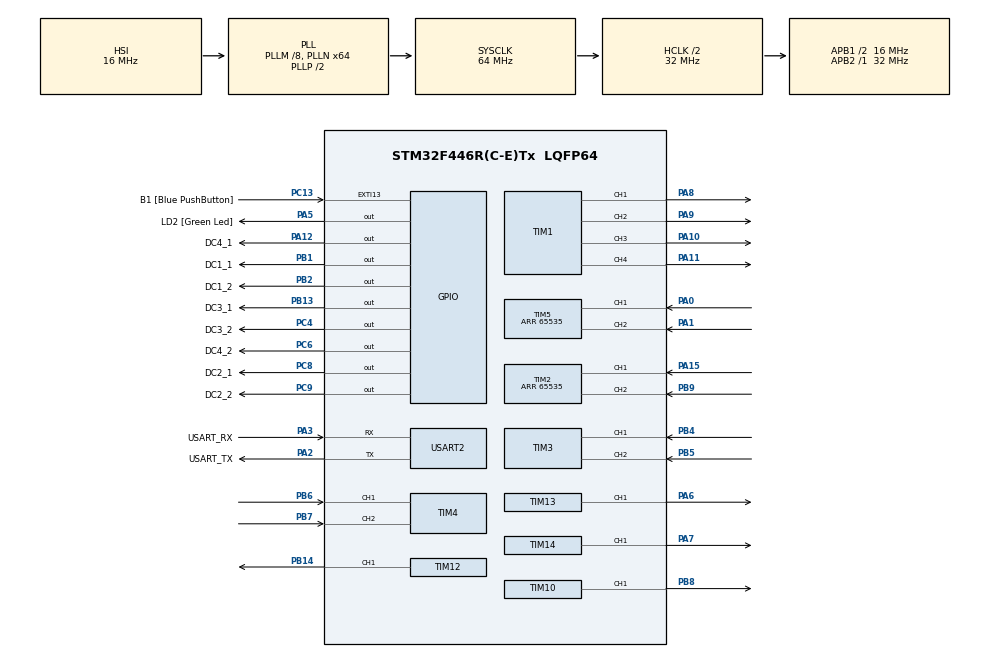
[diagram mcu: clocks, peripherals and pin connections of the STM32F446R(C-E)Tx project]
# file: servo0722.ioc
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Mcu.Family=STM32F4
Mcu.Name=STM32F446R(C-E)Tx
Mcu.Package=LQFP64
NVIC.PriorityGroup=NVIC_PRIORITYGROUP_0
NVIC.TIM2_IRQn=true\:0\:0\:false\:false\:true\:true\:true\:true
NVIC.TIM3_IRQn=true\:0\:0\:false\:false\:true\:true\:true\:true
NVIC.TIM4_IRQn=true\:0\:0\:false\:false\:true\:true\:true\:true
NVIC.TIM5_IRQn=true\:0\:0\:false\:false\:true\:true\:true\:true
PA0-WKUP.Signal=S_TIM5_CH1
PA1.Signal=S_TIM5_CH2
PA10.Signal=S_TIM1_CH3
PA11.Signal=S_TIM1_CH4
PA12.GPIO_Label=DC4_1
PA12.Signal=GPIO_Output
PA13.GPIO_Label=TMS
PA13.Mode=Serial_Wire
PA13.Signal=SYS_JTMS-SWDIO
PA14.GPIO_Label=TCK
PA14.Mode=Serial_Wire
PA14.Signal=SYS_JTCK-SWCLK
PA15.Signal=S_TIM2_CH1_ETR
PA2.GPIO_Label=USART_TX
PA2.Mode=Asynchronous
PA2.Signal=USART2_TX
PA3.GPIO_Label=USART_RX
PA3.Mode=Asynchronous
PA3.Signal=USART2_RX
PA5.GPIO_Label=LD2 [Green Led]
PA5.Signal=GPIO_Output
PA6.Signal=S_TIM13_CH1
PA7.Signal=S_TIM14_CH1
PA8.Signal=S_TIM1_CH1
PA9.Signal=S_TIM1_CH2
PB1.GPIO_Label=DC1_1
PB1.Signal=GPIO_Output
PB13.GPIO_Label=DC3_1
PB13.Signal=GPIO_Output
PB14.Signal=S_TIM12_CH1
PB2.GPIO_Label=DC1_2
PB2.Signal=GPIO_Output
PB3.GPIO_Label=SWO
PB3.Signal=SYS_JTDO-SWO
PB4.Signal=S_TIM3_CH1
PB5.Signal=S_TIM3_CH2
PB6.Signal=S_TIM4_CH1
PB7.Signal=S_TIM4_CH2
PB8.Signal=S_TIM10_CH1
PB9.Signal=S_TIM2_CH2
PC13.GPIO_Label=B1 [Blue PushButton]
PC13.GPIO_ModeDefaultEXTI=GPIO_MODE_IT_FALLING
PC13.Signal=GPXTI13
PC14-OSC32_IN.Mode=LSE-External-Oscillator
PC14-OSC32_IN.Signal=RCC_OSC32_IN
PC15-OSC32_OUT.Mode=LSE-External-Oscillator
PC15-OSC32_OUT.Signal=RCC_OSC32_OUT
PC4.GPIO_Label=DC3_2
PC4.Signal=GPIO_Output
PC6.GPIO_Label=DC4_2
PC6.Signal=GPIO_Output
PC8.GPIO_Label=DC2_1
PC8.Signal=GPIO_Output
PC9.GPIO_Label=DC2_2
PC9.Signal=GPIO_Output
PH0-OSC_IN.Mode=HSE-External-Oscillator
PH0-OSC_IN.Signal=RCC_OSC_IN
PH1-OSC_OUT.Mode=HSE-External-Oscillator
PH1-OSC_OUT.Signal=RCC_OSC_OUT
ProjectManager.HeapSize=0x200
ProjectManager.StackSize=0x400
ProjectManager.TargetToolchain=STM32CubeIDE
RCC.48MHZClocksFreq_Value=84000000
RCC.AHBCLKDivider=RCC_SYSCLK_DIV2
RCC.AHBFreq_Value=32000000
RCC.APB1CLKDivider=RCC_HCLK_DIV2
RCC.APB1Freq_Value=16000000
RCC.APB1TimFreq_Value=32000000
RCC.APB2Freq_Value=32000000
RCC.APB2TimFreq_Value=32000000
RCC.CortexFreq_Value=32000000
RCC.FLatency-AdvancedSettings=FLASH_LATENCY_1
RCC.HCLKFreq_Value=32000000
RCC.HSE_VALUE=8000000
RCC.HSI_VALUE=16000000
RCC.PLLM=8
RCC.PLLN=64
RCC.SYSCLKFreq_VALUE=64000000
RCC.SYSCLKSource=RCC_SYSCLKSOURCE_PLLCLK
RCC.USBFreq_Value=64000000
RCC.VCOOutputFreq_Value=128000000
SH.S_TIM10_CH1.0=TIM10_CH1,PWM Generation1 CH1
SH.S_TIM12_CH1.0=TIM12_CH1,PWM Generation1 CH1
SH.S_TIM13_CH1.0=TIM13_CH1,PWM Generation1 CH1
SH.S_TIM14_CH1.0=TIM14_CH1,PWM Generation1 CH1
SH.S_TIM1_CH1.0=TIM1_CH1,PWM Generation1 CH1
SH.S_TIM1_CH2.0=TIM1_CH2,PWM Generation2 CH2
SH.S_TIM1_CH3.0=TIM1_CH3,PWM Generation3 CH3
SH.S_TIM1_CH4.0=TIM1_CH4,PWM Generation4 CH4
SH.S_TIM2_CH1_ETR.0=TIM2_CH1,Encoder_Interface
SH.S_TIM2_CH2.0=TIM2_CH2,Encoder_Interface
SH.S_TIM3_CH1.0=TIM3_CH1,Encoder_Interface
SH.S_TIM3_CH2.0=TIM3_CH2,Encoder_Interface
SH.S_TIM4_CH1.0=TIM4_CH1,Encoder_Interface
SH.S_TIM4_CH2.0=TIM4_CH2,Encoder_Interface
SH.S_TIM5_CH1.0=TIM5_CH1,Encoder_Interface
SH.S_TIM5_CH2.0=TIM5_CH2,Encoder_Interface
TIM1.Channel-PWM\ Generation1\ CH1=TIM_CHANNEL_1
TIM1.Channel-PWM\ Generation2\ CH2=TIM_CHANNEL_2
TIM1.Channel-PWM\ Generation3\ CH3=TIM_CHANNEL_3
TIM1.Channel-PWM\ Generation4\ CH4=TIM_CHANNEL_4
TIM10.Channel=TIM_CHANNEL_1
TIM10.Period=1000
TIM10.Prescaler=640
TIM12.Channel-PWM\ Generation1\ CH1=TIM_CHANNEL_1
TIM12.Period=1000
TIM12.Prescaler=640
TIM13.Channel=TIM_CHANNEL_1
TIM13.Period=1000
TIM13.Prescaler=640
TIM14.Channel=TIM_CHANNEL_1
TIM14.Period=1000
TIM14.Prescaler=640
TIM2.EncoderMode=TIM_ENCODERMODE_TI12
TIM2.Period=65535
TIM3.EncoderMode=TIM_ENCODERMODE_TI12
TIM4.EncoderMode=TIM_ENCODERMODE_TI12
TIM5.EncoderMode=TIM_ENCODERMODE_TI12
TIM5.Period=65535
USART2.VirtualMode=VM_ASYNC
VP_TIM10_VS_ClockSourceINT.Mode=Enable_Timer
VP_TIM11_VS_ClockSourceINT.Mode=Enable_Timer
VP_TIM12_VS_ClockSourceINT.Mode=Internal
VP_TIM13_VS_ClockSourceINT.Mode=Enable_Timer
VP_TIM14_VS_ClockSourceINT.Mode=Enable_Timer
VP_TIM1_VS_ClockSourceINT.Mode=Internal
VP_TIM1_VS_OPM.Mode=OPM_bit
board=NUCLEO-F446RE

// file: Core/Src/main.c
/* USER CODE BEGIN Header */
/**
  ******************************************************************************
  * @file           : main.c
  * @brief          : Main program body
  ******************************************************************************
  * @attention
  *
  * Copyright (c) 2022 STMicroelectronics.
  * All rights reserved.
  *
  * This software is licensed under terms that can be found in the LICENSE file
  * in the root directory of this software component.
  * If no LICENSE file comes with this software, it is provided AS-IS.
  *
  ******************************************************************************
  */
/* USER CODE END Header */
#include "main.h"

 TIM_HandleTypeDef htim1;
TIM_HandleTypeDef htim2;
TIM_HandleTypeDef htim3;
TIM_HandleTypeDef htim4;
TIM_HandleTypeDef htim5;
TIM_HandleTypeDef htim10;
TIM_HandleTypeDef htim11;
TIM_HandleTypeDef htim12;
TIM_HandleTypeDef htim13;
TIM_HandleTypeDef htim14;

UART_HandleTypeDef huart2;

void SystemClock_Config(void);
static void MX_GPIO_Init(void);
static void MX_USART2_UART_Init(void);
static void MX_TIM1_Init(void);
static void MX_TIM2_Init(void);
static void MX_TIM3_Init(void);
static void MX_TIM4_Init(void);
static void MX_TIM5_Init(void);
static void MX_TIM10_Init(void);
static void MX_TIM11_Init(void);
static void MX_TIM12_Init(void);
static void MX_TIM13_Init(void);
static void MX_TIM14_Init(void);

/* USER CODE BEGIN 0 */

uint32_t counter2 = 0;
uint32_t counter3 = 0;
uint32_t counter4 = 0;
uint32_t counter5 = 0;

int16_t count2 = 0;
int16_t count3 = 0;
int16_t count4 = 0;
int16_t count5 = 0;
int i=0;

void HAL_TIM_IC_CaptureCallback(TIM_HandleTypeDef *htim)
{
	if(htim == &htim2){
		counter2 = __HAL_TIM_GET_COUNTER(htim);
		count2 = (int16_t)counter2;
	}
	else if(htim == &htim3){
			counter3 = __HAL_TIM_GET_COUNTER(htim);
			count3 = (int16_t)counter3;
		}
	else if(htim == &htim4){
			counter4 = __HAL_TIM_GET_COUNTER(htim);
			count4 = (int16_t)counter4;
		}
	else if(htim == &htim5){
			counter5 = __HAL_TIM_GET_COUNTER(htim);
			count5 = (int16_t)counter5;
		}

}
/* USER CODE END 0 */

int main(void)
{

  /* MCU Configuration--------------------------------------------------------*/

  /* Reset of all peripherals, Initializes the Flash interface and the Systick. */
  HAL_Init();

  /* Configure the system clock */
  SystemClock_Config();

  /* Initialize all configured peripherals */
  MX_GPIO_Init();
  MX_USART2_UART_Init();
  MX_TIM1_Init();
  MX_TIM2_Init();
  MX_TIM3_Init();
  MX_TIM4_Init();
  MX_TIM5_Init();
  MX_TIM10_Init();
  MX_TIM11_Init();
  MX_TIM12_Init();
  MX_TIM13_Init();
  MX_TIM14_Init();
  /* USER CODE BEGIN 2 */
  HAL_TIM_Encoder_Start_IT(&htim2, TIM_CHANNEL_ALL);
  HAL_TIM_Encoder_Start_IT(&htim3, TIM_CHANNEL_ALL);
  HAL_TIM_Encoder_Start_IT(&htim4, TIM_CHANNEL_ALL);
  HAL_TIM_Encoder_Start_IT(&htim5, TIM_CHANNEL_ALL);

  // start DC motor PWM
  HAL_TIM_PWM_Start(&htim1, TIM_CHANNEL_1);
  HAL_TIM_PWM_Start(&htim1, TIM_CHANNEL_2);
  HAL_TIM_PWM_Start(&htim1, TIM_CHANNEL_3);
  HAL_TIM_PWM_Start(&htim1, TIM_CHANNEL_4);

  htim1.Instance-> CCR1 = 80;
  htim1.Instance-> CCR2 = 80;
  htim1.Instance-> CCR3 = 80;
  htim1.Instance-> CCR4 = 80;

  // Servo PWM
  HAL_TIM_PWM_Start(&htim10, TIM_CHANNEL_1);
  HAL_TIM_PWM_Start(&htim12, TIM_CHANNEL_1);
  HAL_TIM_PWM_Start(&htim13, TIM_CHANNEL_1);
  HAL_TIM_PWM_Start(&htim14, TIM_CHANNEL_1);

  htim10.Instance->CCR1 = 75;
  htim12.Instance->CCR1 = 80;
  htim13.Instance->CCR1 = 100;
  htim14.Instance->CCR1 = 120;
  HAL_Delay(1000);

  /*
   Encoder: TIM2~TIM5
   DC motor: TIM1
   Servo: TIM10, TIM12, TIM13, TIM14
   */

  /* USER CODE END 2 */

  /* Infinite loop */
  /* USER CODE BEGIN WHILE */
  while (1)
  {
	  // DC motor PWM
	  htim1.Instance-> CCR1 = 80;
	  htim1.Instance-> CCR2 = 80;
	  htim1.Instance-> CCR3 = 80;
	  htim1.Instance-> CCR4 = 80;

 	  /*i=0;
 	  while(i<10)
 	  {
 		  htim10.Instance->CCR1 = 75-i;
 		  htim12.Instance->CCR1 = 80+i;
 		  htim13.Instance->CCR1 = 100-i;
 		  htim14.Instance->CCR1 = 120+i;
 		  i++;
 		  HAL_Delay(1000);
 	  }*/

	  // four wheels go forward
	  for(int i=0;i<4;i++){
		  int a=0;
		  int b=0;
		  HAL_GPIO_WritePin(DC1_1_GPIO_Port, DC1_1_Pin, a);
		  HAL_GPIO_WritePin(DC1_2_GPIO_Port, DC1_2_Pin, b);
		  HAL_GPIO_WritePin(DC2_1_GPIO_Port, DC2_1_Pin, a);
		  HAL_GPIO_WritePin(DC2_2_GPIO_Port, DC2_2_Pin, b);
		  HAL_GPIO_WritePin(DC3_1_GPIO_Port, DC3_1_Pin, a);
		  HAL_GPIO_WritePin(DC3_2_GPIO_Port, DC3_2_Pin, b);
		  HAL_GPIO_WritePin(DC4_1_GPIO_Port, DC4_1_Pin, a);
		  HAL_GPIO_WritePin(DC4_2_GPIO_Port, DC4_2_Pin, b);
		  HAL_Delay(1000);
	  }
	  // four wheels go backward
	  for(int i=0;i<4;i++){
		  int a=0;
		  int b=0;
		  HAL_GPIO_WritePin(DC1_1_GPIO_Port, DC1_1_Pin, a);
		  HAL_GPIO_WritePin(DC1_2_GPIO_Port, DC1_2_Pin, b);
		  HAL_GPIO_WritePin(DC2_1_GPIO_Port, DC2_1_Pin, a);
		  HAL_GPIO_WritePin(DC2_2_GPIO_Port, DC2_2_Pin, b);
		  HAL_GPIO_WritePin(DC3_1_GPIO_Port, DC3_1_Pin, a);
		  HAL_GPIO_WritePin(DC3_2_GPIO_Port, DC3_2_Pin, b);
		  HAL_GPIO_WritePin(DC4_1_GPIO_Port, DC4_1_Pin, a);
		  HAL_GPIO_WritePin(DC4_2_GPIO_Port, DC4_2_Pin, b);
		  HAL_Delay(1000);
	  }
    /* USER CODE END WHILE */

  }
}

void SystemClock_Config(void)
{
  RCC_OscInitTypeDef RCC_OscInitStruct = {0};
  RCC_ClkInitTypeDef RCC_ClkInitStruct = {0};

  /** Configure the main internal regulator output voltage
  */
  __HAL_RCC_PWR_CLK_ENABLE();
  __HAL_PWR_VOLTAGESCALING_CONFIG(PWR_REGULATOR_VOLTAGE_SCALE3);

  /** Initializes the RCC Oscillators according to the specified parameters
  * in the RCC_OscInitTypeDef structure.
  */
  RCC_OscInitStruct.OscillatorType = RCC_OSCILLATORTYPE_HSI;
  RCC_OscInitStruct.HSIState = RCC_HSI_ON;
  RCC_OscInitStruct.HSICalibrationValue = RCC_HSICALIBRATION_DEFAULT;
  RCC_OscInitStruct.PLL.PLLState = RCC_PLL_ON;
  RCC_OscInitStruct.PLL.PLLSource = RCC_PLLSOURCE_HSI;
  RCC_OscInitStruct.PLL.PLLM = 8;
  RCC_OscInitStruct.PLL.PLLN = 64;
  RCC_OscInitStruct.PLL.PLLP = RCC_PLLP_DIV2;
  RCC_OscInitStruct.PLL.PLLQ = 2;
  RCC_OscInitStruct.PLL.PLLR = 2;
  if (HAL_RCC_OscConfig(&RCC_OscInitStruct) != HAL_OK)
  {
    Error_Handler();
  }

  /** Initializes the CPU, AHB and APB buses clocks
  */
  RCC_ClkInitStruct.ClockType = RCC_CLOCKTYPE_HCLK|RCC_CLOCKTYPE_SYSCLK
                              |RCC_CLOCKTYPE_PCLK1|RCC_CLOCKTYPE_PCLK2;
  RCC_ClkInitStruct.SYSCLKSource = RCC_SYSCLKSOURCE_PLLCLK;
  RCC_ClkInitStruct.AHBCLKDivider = RCC_SYSCLK_DIV2;
  RCC_ClkInitStruct.APB1CLKDivider = RCC_HCLK_DIV2;
  RCC_ClkInitStruct.APB2CLKDivider = RCC_HCLK_DIV1;

  if (HAL_RCC_ClockConfig(&RCC_ClkInitStruct, FLASH_LATENCY_1) != HAL_OK)
  {
    Error_Handler();
  }
}

static void MX_TIM1_Init(void)
{

  TIM_ClockConfigTypeDef sClockSourceConfig = {0};
  TIM_MasterConfigTypeDef sMasterConfig = {0};
  TIM_OC_InitTypeDef sConfigOC = {0};
  TIM_BreakDeadTimeConfigTypeDef sBreakDeadTimeConfig = {0};

  htim1.Instance = TIM1;
  htim1.Init.Prescaler = 0;
  htim1.Init.CounterMode = TIM_COUNTERMODE_UP;
  htim1.Init.Period = 65535;
  htim1.Init.ClockDivision = TIM_CLOCKDIVISION_DIV1;
  htim1.Init.RepetitionCounter = 0;
  htim1.Init.AutoReloadPreload = TIM_AUTORELOAD_PRELOAD_DISABLE;
  if (HAL_TIM_Base_Init(&htim1) != HAL_OK)
  {
    Error_Handler();
  }
  sClockSourceConfig.ClockSource = TIM_CLOCKSOURCE_INTERNAL;
  if (HAL_TIM_ConfigClockSource(&htim1, &sClockSourceConfig) != HAL_OK)
  {
    Error_Handler();
  }
  if (HAL_TIM_PWM_Init(&htim1) != HAL_OK)
  {
    Error_Handler();
  }
  if (HAL_TIM_OnePulse_Init(&htim1, TIM_OPMODE_SINGLE) != HAL_OK)
  {
    Error_Handler();
  }
  sMasterConfig.MasterOutputTrigger = TIM_TRGO_RESET;
  sMasterConfig.MasterSlaveMode = TIM_MASTERSLAVEMODE_DISABLE;
  if (HAL_TIMEx_MasterConfigSynchronization(&htim1, &sMasterConfig) != HAL_OK)
  {
    Error_Handler();
  }
  sConfigOC.OCMode = TIM_OCMODE_PWM1;
  sConfigOC.Pulse = 0;
  sConfigOC.OCPolarity = TIM_OCPOLARITY_HIGH;
  sConfigOC.OCNPolarity = TIM_OCNPOLARITY_HIGH;
  sConfigOC.OCFastMode = TIM_OCFAST_DISABLE;
  sConfigOC.OCIdleState = TIM_OCIDLESTATE_RESET;
  sConfigOC.OCNIdleState = TIM_OCNIDLESTATE_RESET;
  if (HAL_TIM_PWM_ConfigChannel(&htim1, &sConfigOC, TIM_CHANNEL_1) != HAL_OK)
  {
    Error_Handler();
  }
  if (HAL_TIM_PWM_ConfigChannel(&htim1, &sConfigOC, TIM_CHANNEL_2) != HAL_OK)
  {
    Error_Handler();
  }
  if (HAL_TIM_PWM_ConfigChannel(&htim1, &sConfigOC, TIM_CHANNEL_3) != HAL_OK)
  {
    Error_Handler();
  }
  if (HAL_TIM_PWM_ConfigChannel(&htim1, &sConfigOC, TIM_CHANNEL_4) != HAL_OK)
  {
    Error_Handler();
  }
  sBreakDeadTimeConfig.OffStateRunMode = TIM_OSSR_DISABLE;
  sBreakDeadTimeConfig.OffStateIDLEMode = TIM_OSSI_DISABLE;
  sBreakDeadTimeConfig.LockLevel = TIM_LOCKLEVEL_OFF;
  sBreakDeadTimeConfig.DeadTime = 0;
  sBreakDeadTimeConfig.BreakState = TIM_BREAK_DISABLE;
  sBreakDeadTimeConfig.BreakPolarity = TIM_BREAKPOLARITY_HIGH;
  sBreakDeadTimeConfig.AutomaticOutput = TIM_AUTOMATICOUTPUT_DISABLE;
  if (HAL_TIMEx_ConfigBreakDeadTime(&htim1, &sBreakDeadTimeConfig) != HAL_OK)
  {
    Error_Handler();
  }
  HAL_TIM_MspPostInit(&htim1);

}

static void MX_TIM2_Init(void)
{

  TIM_Encoder_InitTypeDef sConfig = {0};
  TIM_MasterConfigTypeDef sMasterConfig = {0};

  htim2.Instance = TIM2;
  htim2.Init.Prescaler = 0;
  htim2.Init.CounterMode = TIM_COUNTERMODE_UP;
  htim2.Init.Period = 65535;
  htim2.Init.ClockDivision = TIM_CLOCKDIVISION_DIV1;
  htim2.Init.AutoReloadPreload = TIM_AUTORELOAD_PRELOAD_DISABLE;
  sConfig.EncoderMode = TIM_ENCODERMODE_TI12;
  sConfig.IC1Polarity = TIM_ICPOLARITY_RISING;
  sConfig.IC1Selection = TIM_ICSELECTION_DIRECTTI;
  sConfig.IC1Prescaler = TIM_ICPSC_DIV1;
  sConfig.IC1Filter = 0;
  sConfig.IC2Polarity = TIM_ICPOLARITY_RISING;
  sConfig.IC2Selection = TIM_ICSELECTION_DIRECTTI;
  sConfig.IC2Prescaler = TIM_ICPSC_DIV1;
  sConfig.IC2Filter = 0;
  if (HAL_TIM_Encoder_Init(&htim2, &sConfig) != HAL_OK)
  {
    Error_Handler();
  }
  sMasterConfig.MasterOutputTrigger = TIM_TRGO_RESET;
  sMasterConfig.MasterSlaveMode = TIM_MASTERSLAVEMODE_DISABLE;
  if (HAL_TIMEx_MasterConfigSynchronization(&htim2, &sMasterConfig) != HAL_OK)
  {
    Error_Handler();
  }

}

static void MX_TIM3_Init(void)
{

  TIM_Encoder_InitTypeDef sConfig = {0};
  TIM_MasterConfigTypeDef sMasterConfig = {0};

  htim3.Instance = TIM3;
  htim3.Init.Prescaler = 0;
  htim3.Init.CounterMode = TIM_COUNTERMODE_UP;
  htim3.Init.Period = 65535;
  htim3.Init.ClockDivision = TIM_CLOCKDIVISION_DIV1;
  htim3.Init.AutoReloadPreload = TIM_AUTORELOAD_PRELOAD_DISABLE;
  sConfig.EncoderMode = TIM_ENCODERMODE_TI12;
  sConfig.IC1Polarity = TIM_ICPOLARITY_RISING;
  sConfig.IC1Selection = TIM_ICSELECTION_DIRECTTI;
  sConfig.IC1Prescaler = TIM_ICPSC_DIV1;
  sConfig.IC1Filter = 0;
  sConfig.IC2Polarity = TIM_ICPOLARITY_RISING;
  sConfig.IC2Selection = TIM_ICSELECTION_DIRECTTI;
  sConfig.IC2Prescaler = TIM_ICPSC_DIV1;
  sConfig.IC2Filter = 0;
  if (HAL_TIM_Encoder_Init(&htim3, &sConfig) != HAL_OK)
  {
    Error_Handler();
  }
  sMasterConfig.MasterOutputTrigger = TIM_TRGO_RESET;
  sMasterConfig.MasterSlaveMode = TIM_MASTERSLAVEMODE_DISABLE;
  if (HAL_TIMEx_MasterConfigSynchronization(&htim3, &sMasterConfig) != HAL_OK)
  {
    Error_Handler();
  }

}

static void MX_TIM4_Init(void)
{

  TIM_Encoder_InitTypeDef sConfig = {0};
  TIM_MasterConfigTypeDef sMasterConfig = {0};

  htim4.Instance = TIM4;
  htim4.Init.Prescaler = 0;
  htim4.Init.CounterMode = TIM_COUNTERMODE_UP;
  htim4.Init.Period = 65535;
  htim4.Init.ClockDivision = TIM_CLOCKDIVISION_DIV1;
  htim4.Init.AutoReloadPreload = TIM_AUTORELOAD_PRELOAD_DISABLE;
  sConfig.EncoderMode = TIM_ENCODERMODE_TI12;
  sConfig.IC1Polarity = TIM_ICPOLARITY_RISING;
  sConfig.IC1Selection = TIM_ICSELECTION_DIRECTTI;
  sConfig.IC1Prescaler = TIM_ICPSC_DIV1;
  sConfig.IC1Filter = 0;
  sConfig.IC2Polarity = TIM_ICPOLARITY_RISING;
  sConfig.IC2Selection = TIM_ICSELECTION_DIRECTTI;
  sConfig.IC2Prescaler = TIM_ICPSC_DIV1;
  sConfig.IC2Filter = 0;
  if (HAL_TIM_Encoder_Init(&htim4, &sConfig) != HAL_OK)
  {
    Error_Handler();
  }
  sMasterConfig.MasterOutputTrigger = TIM_TRGO_RESET;
  sMasterConfig.MasterSlaveMode = TIM_MASTERSLAVEMODE_DISABLE;
  if (HAL_TIMEx_MasterConfigSynchronization(&htim4, &sMasterConfig) != HAL_OK)
  {
    Error_Handler();
  }

}

static void MX_TIM5_Init(void)
{

  TIM_Encoder_InitTypeDef sConfig = {0};
  TIM_MasterConfigTypeDef sMasterConfig = {0};

  htim5.Instance = TIM5;
  htim5.Init.Prescaler = 0;
  htim5.Init.CounterMode = TIM_COUNTERMODE_UP;
  htim5.Init.Period = 65535;
  htim5.Init.ClockDivision = TIM_CLOCKDIVISION_DIV1;
  htim5.Init.AutoReloadPreload = TIM_AUTORELOAD_PRELOAD_DISABLE;
  sConfig.EncoderMode = TIM_ENCODERMODE_TI12;
  sConfig.IC1Polarity = TIM_ICPOLARITY_RISING;
  sConfig.IC1Selection = TIM_ICSELECTION_DIRECTTI;
  sConfig.IC1Prescaler = TIM_ICPSC_DIV1;
  sConfig.IC1Filter = 0;
  sConfig.IC2Polarity = TIM_ICPOLARITY_RISING;
  sConfig.IC2Selection = TIM_ICSELECTION_DIRECTTI;
  sConfig.IC2Prescaler = TIM_ICPSC_DIV1;
  sConfig.IC2Filter = 0;
  if (HAL_TIM_Encoder_Init(&htim5, &sConfig) != HAL_OK)
  {
    Error_Handler();
  }
  sMasterConfig.MasterOutputTrigger = TIM_TRGO_RESET;
  sMasterConfig.MasterSlaveMode = TIM_MASTERSLAVEMODE_DISABLE;
  if (HAL_TIMEx_MasterConfigSynchronization(&htim5, &sMasterConfig) != HAL_OK)
  {
    Error_Handler();
  }

}

static void MX_TIM10_Init(void)
{

  TIM_OC_InitTypeDef sConfigOC = {0};

  htim10.Instance = TIM10;
  htim10.Init.Prescaler = 640;
  htim10.Init.CounterMode = TIM_COUNTERMODE_UP;
  htim10.Init.Period = 1000;
  htim10.Init.ClockDivision = TIM_CLOCKDIVISION_DIV1;
  htim10.Init.AutoReloadPreload = TIM_AUTORELOAD_PRELOAD_DISABLE;
  if (HAL_TIM_Base_Init(&htim10) != HAL_OK)
  {
    Error_Handler();
  }
  if (HAL_TIM_PWM_Init(&htim10) != HAL_OK)
  {
    Error_Handler();
  }
  sConfigOC.OCMode = TIM_OCMODE_PWM1;
  sConfigOC.Pulse = 0;
  sConfigOC.OCPolarity = TIM_OCPOLARITY_HIGH;
  sConfigOC.OCFastMode = TIM_OCFAST_DISABLE;
  if (HAL_TIM_PWM_ConfigChannel(&htim10, &sConfigOC, TIM_CHANNEL_1) != HAL_OK)
  {
    Error_Handler();
  }
  HAL_TIM_MspPostInit(&htim10);

}

static void MX_TIM11_Init(void)
{

  htim11.Instance = TIM11;
  htim11.Init.Prescaler = 0;
  htim11.Init.CounterMode = TIM_COUNTERMODE_UP;
  htim11.Init.Period = 65535;
  htim11.Init.ClockDivision = TIM_CLOCKDIVISION_DIV1;
  htim11.Init.AutoReloadPreload = TIM_AUTORELOAD_PRELOAD_DISABLE;
  if (HAL_TIM_Base_Init(&htim11) != HAL_OK)
  {
    Error_Handler();
  }

}

static void MX_TIM12_Init(void)
{

  TIM_ClockConfigTypeDef sClockSourceConfig = {0};
  TIM_OC_InitTypeDef sConfigOC = {0};

  htim12.Instance = TIM12;
  htim12.Init.Prescaler = 640;
  htim12.Init.CounterMode = TIM_COUNTERMODE_UP;
  htim12.Init.Period = 1000;
  htim12.Init.ClockDivision = TIM_CLOCKDIVISION_DIV1;
  htim12.Init.AutoReloadPreload = TIM_AUTORELOAD_PRELOAD_DISABLE;
  if (HAL_TIM_Base_Init(&htim12) != HAL_OK)
  {
    Error_Handler();
  }
  sClockSourceConfig.ClockSource = TIM_CLOCKSOURCE_INTERNAL;
  if (HAL_TIM_ConfigClockSource(&htim12, &sClockSourceConfig) != HAL_OK)
  {
    Error_Handler();
  }
  if (HAL_TIM_PWM_Init(&htim12) != HAL_OK)
  {
    Error_Handler();
  }
  sConfigOC.OCMode = TIM_OCMODE_PWM1;
  sConfigOC.Pulse = 0;
  sConfigOC.OCPolarity = TIM_OCPOLARITY_HIGH;
  sConfigOC.OCFastMode = TIM_OCFAST_DISABLE;
  if (HAL_TIM_PWM_ConfigChannel(&htim12, &sConfigOC, TIM_CHANNEL_1) != HAL_OK)
  {
    Error_Handler();
  }
  HAL_TIM_MspPostInit(&htim12);

}

static void MX_TIM13_Init(void)
{

  TIM_OC_InitTypeDef sConfigOC = {0};

  htim13.Instance = TIM13;
  htim13.Init.Prescaler = 640;
  htim13.Init.CounterMode = TIM_COUNTERMODE_UP;
  htim13.Init.Period = 1000;
  htim13.Init.ClockDivision = TIM_CLOCKDIVISION_DIV1;
  htim13.Init.AutoReloadPreload = TIM_AUTORELOAD_PRELOAD_DISABLE;
  if (HAL_TIM_Base_Init(&htim13) != HAL_OK)
  {
    Error_Handler();
  }
  if (HAL_TIM_PWM_Init(&htim13) != HAL_OK)
  {
    Error_Handler();
  }
  sConfigOC.OCMode = TIM_OCMODE_PWM1;
  sConfigOC.Pulse = 0;
  sConfigOC.OCPolarity = TIM_OCPOLARITY_HIGH;
  sConfigOC.OCFastMode = TIM_OCFAST_DISABLE;
  if (HAL_TIM_PWM_ConfigChannel(&htim13, &sConfigOC, TIM_CHANNEL_1) != HAL_OK)
  {
    Error_Handler();
  }
  HAL_TIM_MspPostInit(&htim13);

}

static void MX_TIM14_Init(void)
{

  TIM_OC_InitTypeDef sConfigOC = {0};

  htim14.Instance = TIM14;
  htim14.Init.Prescaler = 640;
  htim14.Init.CounterMode = TIM_COUNTERMODE_UP;
  htim14.Init.Period = 1000;
  htim14.Init.ClockDivision = TIM_CLOCKDIVISION_DIV1;
  htim14.Init.AutoReloadPreload = TIM_AUTORELOAD_PRELOAD_DISABLE;
  if (HAL_TIM_Base_Init(&htim14) != HAL_OK)
  {
    Error_Handler();
  }
  if (HAL_TIM_PWM_Init(&htim14) != HAL_OK)
  {
    Error_Handler();
  }
  sConfigOC.OCMode = TIM_OCMODE_PWM1;
  sConfigOC.Pulse = 0;
  sConfigOC.OCPolarity = TIM_OCPOLARITY_HIGH;
  sConfigOC.OCFastMode = TIM_OCFAST_DISABLE;
  if (HAL_TIM_PWM_ConfigChannel(&htim14, &sConfigOC, TIM_CHANNEL_1) != HAL_OK)
  {
    Error_Handler();
  }
  HAL_TIM_MspPostInit(&htim14);

}

static void MX_USART2_UART_Init(void)
{

  huart2.Instance = USART2;
  huart2.Init.BaudRate = 115200;
  huart2.Init.WordLength = UART_WORDLENGTH_8B;
  huart2.Init.StopBits = UART_STOPBITS_1;
  huart2.Init.Parity = UART_PARITY_NONE;
  huart2.Init.Mode = UART_MODE_TX_RX;
  huart2.Init.HwFlowCtl = UART_HWCONTROL_NONE;
  huart2.Init.OverSampling = UART_OVERSAMPLING_16;
  if (HAL_UART_Init(&huart2) != HAL_OK)
  {
    Error_Handler();
  }

}

static void MX_GPIO_Init(void)
{
  GPIO_InitTypeDef GPIO_InitStruct = {0};

  /* GPIO Ports Clock Enable */
  __HAL_RCC_GPIOC_CLK_ENABLE();
  __HAL_RCC_GPIOH_CLK_ENABLE();
  __HAL_RCC_GPIOA_CLK_ENABLE();
  __HAL_RCC_GPIOB_CLK_ENABLE();

  /*Configure GPIO pin Output Level */
  HAL_GPIO_WritePin(GPIOA, LD2_Pin|DC4_1_Pin, GPIO_PIN_RESET);

  /*Configure GPIO pin Output Level */
  HAL_GPIO_WritePin(GPIOC, DC3_2_Pin|DC4_2_Pin|DC2_1_Pin|DC2_2_Pin, GPIO_PIN_RESET);

  /*Configure GPIO pin Output Level */
  HAL_GPIO_WritePin(GPIOB, DC1_1_Pin|DC1_2_Pin|DC3_1_Pin, GPIO_PIN_RESET);

  /*Configure GPIO pin : B1_Pin */
  GPIO_InitStruct.Pin = B1_Pin;
  GPIO_InitStruct.Mode = GPIO_MODE_IT_FALLING;
  GPIO_InitStruct.Pull = GPIO_NOPULL;
  HAL_GPIO_Init(B1_GPIO_Port, &GPIO_InitStruct);

  /*Configure GPIO pins : LD2_Pin DC4_1_Pin */
  GPIO_InitStruct.Pin = LD2_Pin|DC4_1_Pin;
  GPIO_InitStruct.Mode = GPIO_MODE_OUTPUT_PP;
  GPIO_InitStruct.Pull = GPIO_NOPULL;
  GPIO_InitStruct.Speed = GPIO_SPEED_FREQ_LOW;
  HAL_GPIO_Init(GPIOA, &GPIO_InitStruct);

  /*Configure GPIO pins : DC3_2_Pin DC4_2_Pin DC2_1_Pin DC2_2_Pin */
  GPIO_InitStruct.Pin = DC3_2_Pin|DC4_2_Pin|DC2_1_Pin|DC2_2_Pin;
  GPIO_InitStruct.Mode = GPIO_MODE_OUTPUT_PP;
  GPIO_InitStruct.Pull = GPIO_NOPULL;
  GPIO_InitStruct.Speed = GPIO_SPEED_FREQ_LOW;
  HAL_GPIO_Init(GPIOC, &GPIO_InitStruct);

  /*Configure GPIO pins : DC1_1_Pin DC1_2_Pin DC3_1_Pin */
  GPIO_InitStruct.Pin = DC1_1_Pin|DC1_2_Pin|DC3_1_Pin;
  GPIO_InitStruct.Mode = GPIO_MODE_OUTPUT_PP;
  GPIO_InitStruct.Pull = GPIO_NOPULL;
  GPIO_InitStruct.Speed = GPIO_SPEED_FREQ_LOW;
  HAL_GPIO_Init(GPIOB, &GPIO_InitStruct);

}

void Error_Handler(void)
{
  __disable_irq();
  while (1)
  {
  }
}
